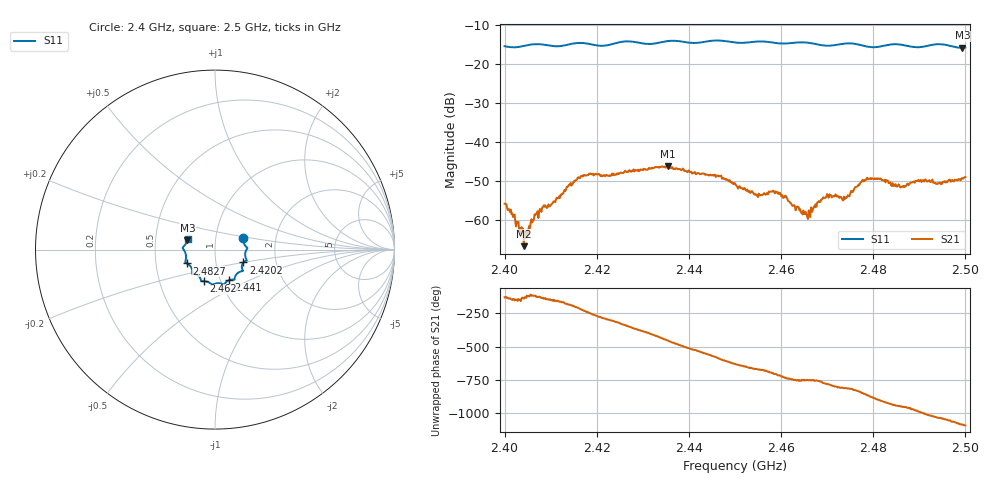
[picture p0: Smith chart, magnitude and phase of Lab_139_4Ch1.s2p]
# Hz S RI R 50
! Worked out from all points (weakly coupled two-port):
!   601 points, 2.4 GHz to 2.5 GHz, reference 50 ohm
!   highest |S21| = -46.14 dB at 2.4355 GHz (marker M1); lowest = -66.6 dB at 2.4042 GHz (marker M2)
!   lowest |S11| = -15.8 dB at 2.4993 GHz (marker M3), VSWR 1.39, Z = 36.5 + j3.87 ohm
!   |S11| at or under -10 dB: start of sweep to end of sweep
!   S12 and S22 are empty: the file has one direction only
!   S11 on the Smith chart (normalised r, x): 2.4 GHz: 1.36, +0.18; 2.4202 GHz: 1.36, -0.20; 2.441 GHz: 1.10, -0.39; 2.462 GHz: 0.83, -0.30; 2.4827 GHz: 0.72, -0.11; 2.5 GHz: 0.73, +0.09
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2.4e9  0.1582 0.0625  -0.00105 -0.00126  0 0  0 0
2.404167e9  0.1706 0.0186  -0.000356 -0.000303  0 0  0 0
2.408e9  0.1794 0.00638  -0.000851 -0.00096  0 0  0 0
2.416667e9  0.1773 -0.0606  -0.00273 0.00251  0 0  0 0
2.420167e9  0.1583 -0.0714  0.000211 0.0039  0 0  0 0
2.433333e9  0.1116 -0.1508  0.00193 -0.00442  0 0  0 0
2.4355e9  0.1094 -0.1655  -0.000468 -0.00491  0 0  0 0
2.441e9  0.0784 -0.17  -0.00394 -0.00115  0 0  0 0
2.45e9  0.0282 -0.1877  1.41e-05 0.00298  0 0  0 0
2.4545e9  -0.0104 -0.1944  0.00137 0.00169  0 0  0 0
2.459333e9  -0.0354 -0.182  0.00219 0.000116  0 0  0 0
2.462e9  -0.0608 -0.1759  0.00154 -0.000661  0 0  0 0
2.465333e9  -0.077 -0.1736  0.00108 -0.000699  0 0  0 0
2.466667e9  -0.0788 -0.168  0.00109 -0.000669  0 0  0 0
2.470333e9  -0.0984 -0.1415  0.000884 -0.00174  0 0  0 0
2.474333e9  -0.1264 -0.1348  -0.000153 -0.002  0 0  0 0
2.478167e9  -0.1277 -0.1136  -0.00234 -0.00219  0 0  0 0
2.482667e9  -0.1565 -0.0771  -0.00288 0.00106  0 0  0 0
2.483333e9  -0.1607 -0.0754  -0.00268 0.00137  0 0  0 0
2.486333e9  -0.1646 -0.0649  -0.00164 0.00215  0 0  0 0
2.499333e9  -0.154 0.0517  0.00345 -0.000312  0 0  0 0
2.5e9  -0.1521 0.0611  0.0035 -0.000797  0 0  0 0
